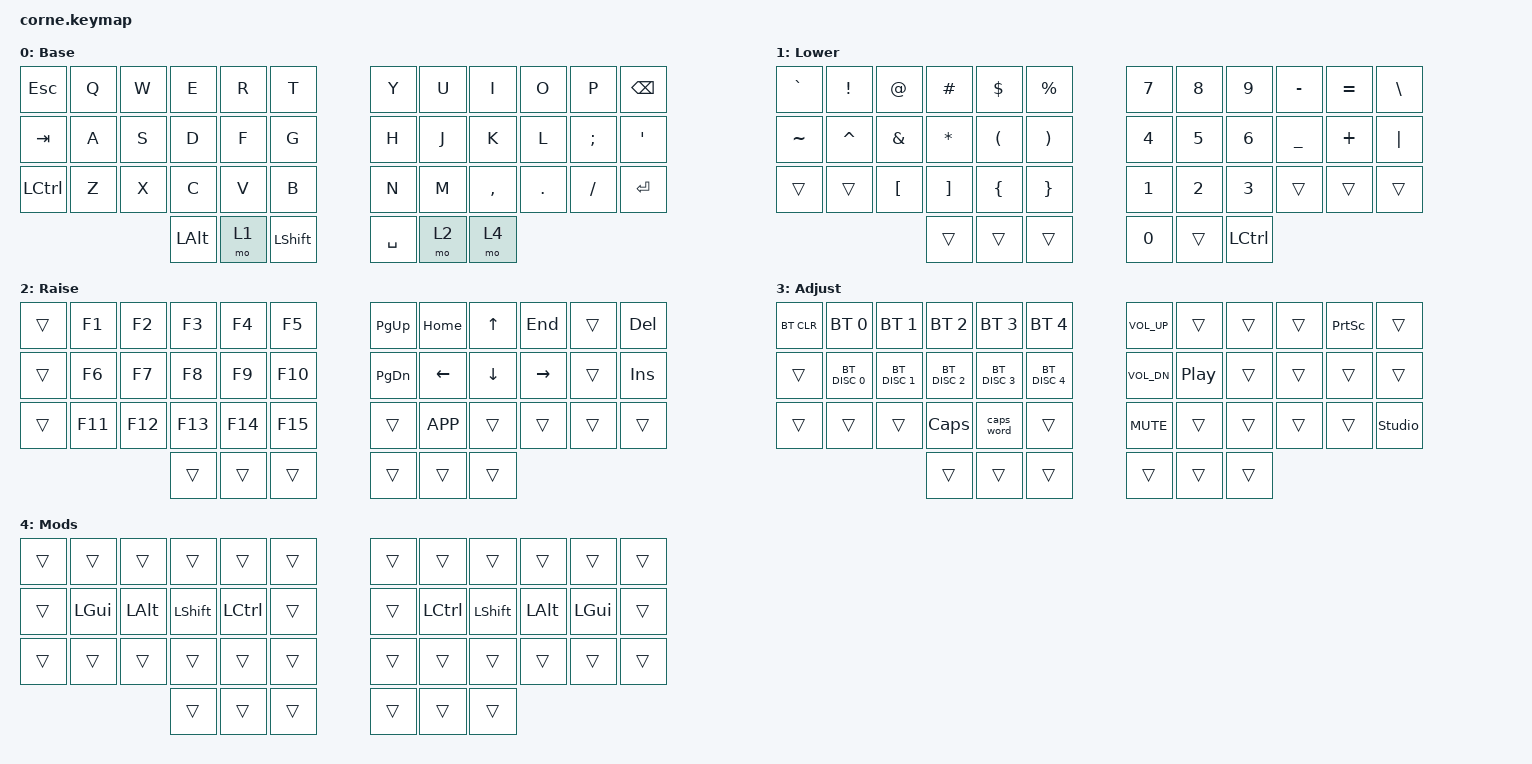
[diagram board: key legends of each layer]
/*
 * Copyright (c) 2020 The ZMK Contributors
 *
 * SPDX-License-Identifier: MIT
 */

#include <behaviors.dtsi>
#include <dt-bindings/zmk/keys.h>
#include <dt-bindings/zmk/bt.h>

/ {
        keymap {
                compatible = "zmk,keymap";

                default_layer {
// -----------------------------------------------------------------------------------------
// | ESC  |  Q  |  W  |  E  |  R  |  T  |   |  Y  |  U   |  I  |  O  |  P  | BKSP |
// | TAB  |  A  |  S  |  D  |  F  |  G  |   |  H  |  J   |  K  |  L  |  ;  |  '   |
// | CTRL |  Z  |  X  |  C  |  V  |  B  |   |  N  |  M   |  ,  |  .  |  /  | RET  |
//                    | ALT | LWR | SHFT|   | SPC | RSE  | GUI |
                        display-name = "Base";
                        bindings = <
   &kp ESC   &kp Q &kp W &kp E &kp R &kp T   &kp Y &kp U  &kp I     &kp O   &kp P    &kp BSPC
   &kp TAB   &kp A &kp S &kp D &kp F &kp G   &kp H &kp J  &kp K     &kp L   &kp SEMI &kp SQT
   &kp LCTRL &kp Z &kp X &kp C &kp V &kp B   &kp N &kp M  &kp COMMA &kp DOT &kp FSLH &kp RET
                  &kp LALT &mo 1 &kp LSHFT   &kp SPACE &mo 2 &mo 4
                        >;
                };

                lower_layer {
// -----------------------------------------------------------------------------------------
// |  `  |  !  |  @  |  #  |  $  |  %  |   |  7  |  8  |  9  |  -  |  =  |  \   |
// |  ~  |  ^  |  &  |  *  |  (  |  )  |   |  4  |  5  |  6  |  _  |  +  |  |   |
// |     |     |  [  |  ]  |  {  |  }  |   |  1  |  2  |  3  |     |     |      |
//                   |     |     |     |   |  0  |     | CTRL|
                        display-name = "Lower";
                        bindings = <
   &kp GRAVE &kp EXCL  &kp AT   &kp HASH &kp DLLR &kp PRCNT     &kp N7 &kp N8 &kp N9 &kp MINUS &kp EQUAL &kp BSLH
   &kp TILDE &kp CARET &kp AMPS &kp STAR &kp LPAR &kp RPAR      &kp N4 &kp N5 &kp N6 &kp UNDER &kp PLUS  &kp PIPE
   &trans    &trans    &kp LBKT &kp RBKT &kp LBRC &kp RBRC      &kp N1 &kp N2 &kp N3 &trans    &trans    &trans
                                &trans   &trans   &trans        &kp N0 &trans &kp LCTRL
                        >;
                };

                raise_layer {
// -----------------------------------------------------------------------------------------
// |      | F1  | F2  | F3  | F4  | F5  |   | PGUP| HOME| UP  | END  |     | DEL  |
// |      | F6  | F7  | F8  | F9  | F10 |   | PGDN| LEFT| DOWN| RIGHT|     | INS  |
// |      | F11 | F12 | F13 | F14 | F15 |   |     | MENU|     |      |     |      |
//                    |     |     |     |   |     |     |     |
                        display-name = "Raise";
                        bindings = <
   &trans  &kp F1  &kp F2   &kp F3  &kp F4  &kp F5     &kp PG_UP &kp HOME   &kp UP    &kp END   &trans &kp DEL
   &trans  &kp F6  &kp F7   &kp F8  &kp F9  &kp F10    &kp PG_DN &kp LEFT   &kp DOWN  &kp RIGHT &trans &kp INS
   &trans  &kp F11 &kp F12  &kp F13 &kp F14 &kp F15    &trans    &kp K_APP  &trans    &trans    &trans &trans
                          	&trans  &trans  &trans     &trans    &trans   &trans
                        >;
                };

                adjust_layer {
// -----------------------------------------------------------------------------------------
// |BT CLR| BT0 | BT1 | BT2 | BT3 | BT4 |   | VUP |     |     |     |PSCRN|      |
// |      | BTD0| BTD1| BTD2| BTD3| BTD4|   | VDN | PP  |     |     |     |      |
// |      |     |     |CAPS |CWORD|     |   | MUTE|     |     |     |     |UNLCK |
//                    |     |     |     |   |     |     |     |
                        display-name = "Adjust";
                        bindings = <
   &bt BT_CLR &bt BT_SEL 0   &bt BT_SEL 1  &bt BT_SEL 2  &bt BT_SEL 3  &bt BT_SEL 4     &kp C_VOL_UP &trans    &trans &trans &kp PSCRN &trans
   &trans     &bt BT_DISC 0  &bt BT_DISC 1 &bt BT_DISC 2 &bt BT_DISC 3 &bt BT_DISC 4    &kp C_VOL_DN &kp C_PP  &trans &trans &trans    &trans
   &trans     &trans         &trans        &kp CAPS      &caps_word    &trans           &kp C_MUTE   &trans    &trans &trans &trans    &studio_unlock
                    	                &trans       &trans       &trans         &trans &trans &trans
                        >;
                };

                Mods_layer {
// -----------------------------------------------------------------------------------------
// |      |     |     |     |     |     |   |     |     |     |     |     |      |
// |      | GUI | ALT | SHFT| CTRL|     |   |     | CTRL| SHFT| ALT | GUI |      |
// |      |     |     |     |     |     |   |     |     |     |     |     |      |
//                    |     |     |     |   |     |     |     |
                        display-name = "Mods";
                        bindings = <
   &trans &trans   &trans   &trans    &trans    &trans     &trans &trans    &trans    &trans   &trans   &trans
   &trans &kp LGUI &kp LALT &kp LSHFT &kp LCTRL &trans     &trans &kp LCTRL &kp LSHFT &kp LALT &kp LGUI &trans
   &trans &trans   &trans   &trans    &trans    &trans     &trans &trans    &trans    &trans   &trans   &trans
                    	&trans &trans &trans     &trans &trans &trans
                        >;
                };
        };
        conditional_layers {
                compatible = "zmk,conditional-layers";
                tri_layer {
                    if-layers = <1 2>;
                    then-layer = <3>;
                };
        };
};
